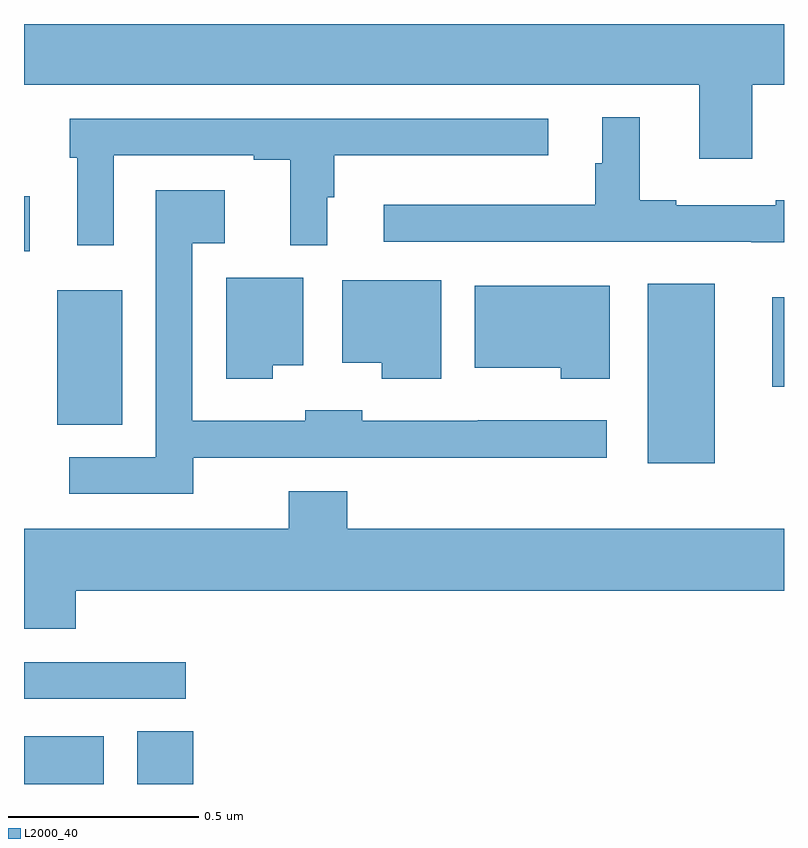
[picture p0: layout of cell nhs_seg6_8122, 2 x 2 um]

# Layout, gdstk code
import gdstk
lib = gdstk.Library(unit=1e-6, precision=1e-09)
def R(c, l, rs):  # rectangles x0, y0, x1, y1
    for r in rs: c.add(gdstk.rectangle(r[:2], r[2:], *l))
def P(c, l, *ps):  # polygons
    for p in ps: c.add(gdstk.Polygon(p, *l))
L2000_40 = (2000, 40)

nhs_seg6_8122 = lib.new_cell('nhs_seg6_8122')
R(nhs_seg6_8122, L2000_40, [(217,941.5,217.21,941.626), (217.298,941.5,217.445,941.639), (217,941.724,217.426,941.82), (218.642,942.344,218.818,942.817), (217.088,942.445,217.258,942.799), (218.969,942.545,219,942.781), (217,942.902,217.015,943.047)])
P(nhs_seg6_8122, L2000_40, [(218.917,943.34),(219,943.34),(219,943.5),(217,943.5),(217,943.34),(218.777,943.34),(218.777,943.146),(218.917,943.146)],
  [(219,943.036),(218.978,943.036),(218.978,943.023),(218.716,943.023),(218.716,943.036),(218.62,943.036),(218.62,943.255),(218.522,943.255),(218.522,943.134),(218.503,943.134),(218.503,943.024),(217.947,943.024),(217.947,942.927),(218.914,942.927),(218.914,942.926),(219,942.926)],
  [(217.236,943.155),(217.604,943.155),(217.604,943.143),(217.7,943.143),(217.7,942.918),(217.798,942.918),(217.798,943.044),(217.817,943.044),(217.817,943.154),(218.38,943.154),(218.38,943.251),(217.12,943.251),(217.12,943.148),(217.14,943.148),(217.14,942.918),(217.236,942.918)],
  [(217.446,942.359),(218.533,942.359),(218.533,942.457),(218.194,942.457),(218.194,942.456),(217.89,942.456),(217.89,942.484),(217.74,942.484),(217.74,942.456),(217.443,942.456),(217.443,942.923),(217.528,942.923),(217.528,943.063),(217.347,943.063),(217.347,942.36),(217.119,942.36),(217.119,942.264),(217.446,942.264)],
  [(217.654,942.602),(217.735,942.602),(217.735,942.832),(217.532,942.832),(217.532,942.566),(217.654,942.566)],
  [(218.098,942.826),(217.838,942.826),(217.838,942.608),(217.941,942.608),(217.941,942.566),(218.098,942.566)],
  [(218.542,942.811),(218.186,942.811),(218.186,942.596),(218.413,942.596),(218.413,942.566),(218.542,942.566)],
  [(217.136,942.008),(219,942.008),(219,942.172),(217.85,942.172),(217.85,942.271),(217.697,942.271),(217.697,942.172),(217,942.172),(217,941.909),(217.136,941.909)])

lib.write_gds('nhs_seg6_8122.gds')
